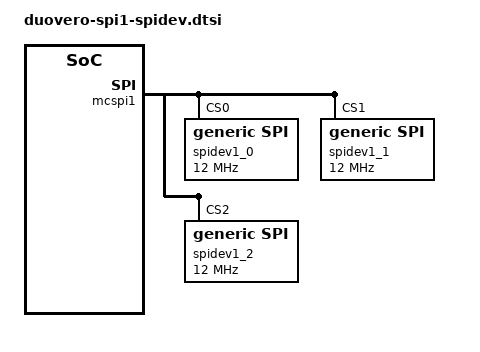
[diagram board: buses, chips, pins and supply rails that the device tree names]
/*
 * Copyright (C) 2015 Jumpnow Technologies, LLC
 *
 * This program is free software; you can redistribute it and/or modify
 * it under the terms of the GNU General Public License version 2 as
 * published by the Free Software Foundation.
 */

&omap4_pmx_core {
	mcspi1_pins: pinmux_spi1_pins {
		pinctrl-single,pins = <
			OMAP4_IOPAD(0x132, PIN_INPUT_PULLUP | MUX_MODE0)	/* mcspi1_clk, J9.3 */
			OMAP4_IOPAD(0x134, PIN_INPUT_PULLUP | MUX_MODE0)	/* mcspi1_somi, J9.7 */
			OMAP4_IOPAD(0x136, PIN_OUTPUT_PULLUP | MUX_MODE0)	/* mcspi1_simo, J9.5 */
			OMAP4_IOPAD(0x138, PIN_OUTPUT_PULLUP | MUX_MODE0)	/* mcspi1_cs0, J9.4 */
			OMAP4_IOPAD(0x13a, PIN_OUTPUT_PULLUP | MUX_MODE0)	/* mcspi1_cs1, J9.6 */
			OMAP4_IOPAD(0x13c, PIN_OUTPUT_PULLUP | MUX_MODE0)	/* mcspi1_cs2, J9.8 */
		>;
	};
};

&mcspi1 {
	status = "okay";
	pinctrl-names = "default";
	pinctrl-0 = <&mcspi1_pins>;

	spidev1_0: spidev1@0 {
		compatible = "generic,spi";
		reg = <0>;
		spi-max-frequency = <12000000>;
		/* spi-cpha; sets CPHA=1, default is CPHA=0 */
		/* spi-cpol; sets CPOL=1, default is CPOL=0 */
		/* spi-cs-high; default is spi cs low */
	};

	spidev1_1: spidev1@1 {
		compatible = "generic,spi";
		reg = <1>;
		spi-max-frequency = <12000000>;
	};

	spidev1_2: spidev1@2 {
		compatible = "generic,spi";
		reg = <2>;
		spi-max-frequency = <12000000>;
	};
};
